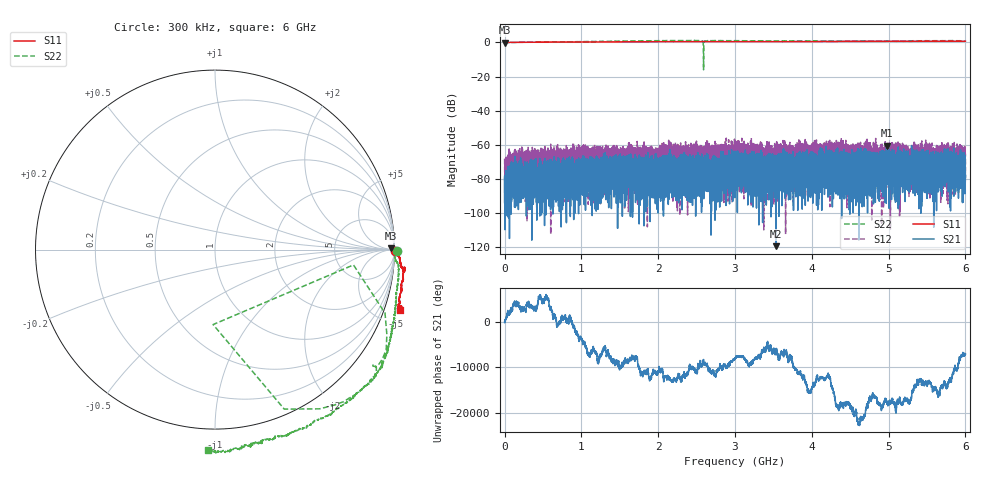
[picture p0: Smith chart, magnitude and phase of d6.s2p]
!Agilent Technologies,N5230C,SG49000117,A.08.50.07
!Agilent N5230C: A.08.50.07
!Date: Thursday, May 16, 2024 21:21:46
!Correction: S11(Full 2 Port(1,2))
!S21(Full 2 Port(1,2))
!S12(Full 2 Port(1,2))
!S22(Full 2 Port(1,2))
!S2P File: Measurements: S11, S21, S12, S22:
# Hz S  MA  R 50
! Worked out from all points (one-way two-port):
!   20001 points, 300 kHz to 6 GHz, reference 50 ohm
!   highest |S21| = -60.63 dB at 4.973 GHz (marker M1); lowest = -119.7 dB at 3.535 GHz (marker M2)
!   lowest |S11| = -0.2 dB at 600 kHz (marker M3), VSWR 114.29, Z = 4.88e+03 + j2.02e+03 ohm
!   |S11| at or under -10 dB: nowhere
!   |S22| runs from -16.1 to 1.2 dB; largest |S21 - S12| = 0.0018
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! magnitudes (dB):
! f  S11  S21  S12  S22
! 300 kHz  0.0  -79.8  -68.2  0.1
! 600 kHz  -0.2  -93.6  -79.5  -0.3
! 30.6 MHz  0.0  -82.5  -78.6  0.0
! 126.3 MHz  0.0  -89.0  -71.7  0.1
! 768.9 MHz  0.2  -90.0  -69.4  0.4
! 1 GHz  0.2  -74.3  -68.1  0.5
! 1.141 GHz  0.3  -74.6  -66.1  0.5
! 2 GHz  0.5  -72.7  -72.8  1.0
! 2.153 GHz  0.5  -68.2  -61.7  1.1
! 2.259 GHz  0.5  -78.5  -71.4  1.1
! 2.756 GHz  0.5  -89.8  -67.5  1.1
! 3 GHz  0.5  -67.7  -65.9  1.0
! 3.182 GHz  0.5  -70.1  -67.0  1.0
! 3.535 GHz  0.5  -119.7  -72.3  0.9
! 3.621 GHz  0.5  -70.9  -78.5  0.9
! 4 GHz  0.5  -83.2  -62.3  0.9
! 4.973 GHz  0.7  -60.6  -78.6  1.0
! 5 GHz  0.7  -83.9  -79.2  0.9
! 5.597 GHz  0.7  -87.1  -67.8  1.0
! 5.737 GHz  0.7  -72.0  -68.9  1.0
! 5.959 GHz  0.7  -77.7  -71.1  1.0
! 6 GHz  0.7  -78.6  -75.3  1.0
